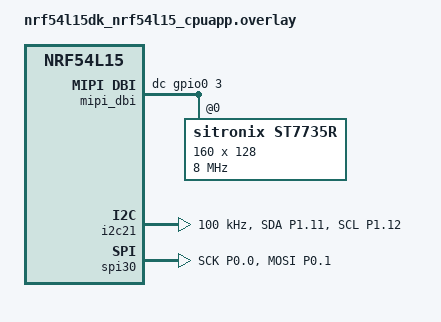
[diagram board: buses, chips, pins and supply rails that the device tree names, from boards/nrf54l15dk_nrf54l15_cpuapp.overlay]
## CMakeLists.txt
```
cmake_minimum_required(VERSION 3.20.0)

list(APPEND ZEPHYR_EXTRA_MODULES ${CMAKE_CURRENT_SOURCE_DIR}/edge_model)

find_package(Zephyr REQUIRED HINTS $ENV{ZEPHYR_BASE})

project(ov7670-fifo-camera)

set(EI_SDK_PATH "C:/ncs/v3.2.4/modules/edge-impulse-sdk-zephyr")

add_subdirectory(
    ${EI_SDK_PATH}/edge-impulse-sdk/cmake/zephyr
    edge-impulse-sdk-zephyr
)

target_sources(app PRIVATE
    src/main.cpp
    src/ov7670.c
    src/fifo.c
    src/tft_display.c
)
```

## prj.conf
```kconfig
# OV7670 FIFO Camera Demo
CONFIG_GPIO=y
CONFIG_I2C=y
CONFIG_SPI=y
CONFIG_DISPLAY=y
CONFIG_ST7735R=y
CONFIG_MIPI_DBI=y

# Serial console (required for any UART output on nRF54L15)
CONFIG_SERIAL=y
CONFIG_CONSOLE=y
CONFIG_UART_CONSOLE=y
CONFIG_PRINTK=y

# Logging
CONFIG_LOG=y
CONFIG_LOG_MODE_IMMEDIATE=y
CONFIG_LOG_BACKEND_UART=y


CONFIG_MAIN_STACK_SIZE=16384
CONFIG_HEAP_MEM_POOL_SIZE=110000
CONFIG_NEWLIB_LIBC=y

CONFIG_CPP=y
CONFIG_STD_CPP17=y
CONFIG_REQUIRES_FULL_LIBCPP=y
CONFIG_NEWLIB_LIBC=y
```

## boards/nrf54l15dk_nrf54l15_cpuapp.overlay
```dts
/*
 * Device tree overlay for OV7670 + FIFO camera on nRF54L15 DK
 *
 * I2C (SCCB): SIOD = P1.11, SIOC = P1.12  (i2c21 / TWIM21 — Arduino I2C header)
 * Data bus D0-D7 = P2.00-P2.07  (read as low byte of port 2)
 * VSYNC = P2.08,  WRST = P2.10,  RCK = P2.09
 * XCLK: provided by 12 MHz oscillator on the camera PCB
 *
 * P1.04-P1.07 — UART20 console          DO NOT USE
 * P2.07 — LED2 (D7: FIFO drives OK, LED flickers with data)
 * P2.09 — LED0 (RCK: LED blinks during frame readout — capture indicator)
 *
 * NOTE: P1.11 and P1.12 are the Arduino-compatible I2C header pins on PCA10156.
 * P1.00/P1.01 are NOT wired to any header on this board.
 */

&pinctrl {
	i2c21_default: i2c21_default {
		group1 {
			psels = <NRF_PSEL(TWIM_SDA, 1, 11)>,
				<NRF_PSEL(TWIM_SCL, 1, 12)>;
			/* External 4.7 kΩ pull-ups present — no internal bias needed */
		};
	};

	i2c21_sleep: i2c21_sleep {
		group1 {
			psels = <NRF_PSEL(TWIM_SDA, 1, 11)>,
				<NRF_PSEL(TWIM_SCL, 1, 12)>;
			low-power-enable;
		};
	};
};

&i2c21 {
	compatible = "nordic,nrf-twim";
	status = "okay";
	pinctrl-0 = <&i2c21_default>;
	pinctrl-1 = <&i2c21_sleep>;
	pinctrl-names = "default", "sleep";
	clock-frequency = <100000>;
};

/*
 * Disable the on-board SPI flash (MX25R64) and SPI00 peripheral.
 * They claim P2.00 (reset), P2.01 (SCK), P2.02 (MOSI), P2.04 (MISO),
 * P2.05 (CS) — which collide with our FIFO data bus D0-D7 on P2.00-P2.07.
 *
 * NOTE: Even with SPI00 disabled, the flash chip is physically soldered
 * to these traces. If bus contention causes problems, the data bus
 * may need to be moved to different pins.
 */
&spi00 {
	status = "disabled";
};

&uart30 {
	status = "disabled";
};

&pinctrl {
	spi30_default: spi30_default {
		group1 {
			psels = <NRF_PSEL(SPIM_SCK, 0, 0)>,
				<NRF_PSEL(SPIM_MOSI, 0, 1)>;
		};
	};

	spi30_sleep: spi30_sleep {
		group1 {
			psels = <NRF_PSEL(SPIM_SCK, 0, 0)>,
				<NRF_PSEL(SPIM_MOSI, 0, 1)>;
			low-power-enable;
		};
	};
};

&spi30 {
	compatible = "nordic,nrf-spim";
	status = "okay";
	pinctrl-0 = <&spi30_default>;
	pinctrl-1 = <&spi30_sleep>;
	pinctrl-names = "default", "sleep";
	cs-gpios = <&gpio0 2 GPIO_ACTIVE_LOW>;
};

/ {
	mipi_dbi: mipi_dbi {
		compatible = "zephyr,mipi-dbi-spi";
		status = "okay";
		spi-dev = <&spi30>;
		dc-gpios = <&gpio0 3 GPIO_ACTIVE_HIGH>;
		write-only;
		#address-cells = <1>;
		#size-cells = <0>;

		st7735r: st7735r@0 {
			compatible = "sitronix,st7735r";
	status = "okay";
	reg = <0>;
	mipi-max-frequency = <8000000>;
	mipi-mode = "MIPI_DBI_MODE_SPI_4WIRE";
	width = <160>;
	height = <128>;
	x-offset = <0>;
	y-offset = <0>;
	madctl = <0x60>;
	colmod = <0x05>;
	vmctr1 = <0x0e>;
	pwctr1 = [A2 02 84];
	pwctr2 = [C5];
	pwctr3 = [0A 00];
	pwctr4 = [8A 2A];
	pwctr5 = [8A EE];
	frmctr1 = [01 2C 2D];
	frmctr2 = [01 2C 2D];
	frmctr3 = [01 2C 2D 01 2C 2D];
	gamctrp1 = [02 1C 07 12 37 32 29 2D 29 25 2B 39 00 01 03 10];
	gamctrn1 = [03 1D 07 06 2E 2C 29 2D 2E 2E 37 3F 00 00 02 10];
		};
	};
};
```

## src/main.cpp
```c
/*
 * OV7670 + FIFO Camera Demo — nRF54L15 DK (Zephyr)
 * Button-triggered Edge Impulse inference.
 */

#include "edge-impulse-sdk/classifier/ei_run_classifier.h"
#include "model-parameters/model_metadata.h"

#include <zephyr/kernel.h>
#include <zephyr/logging/log.h>
#include <zephyr/drivers/gpio.h>

extern "C" {
#include "ov7670.h"
#include "fifo.h"
#include "tft_display.h"
}

LOG_MODULE_REGISTER(app, LOG_LEVEL_INF);

#define BUTTON_PORT_NODE DT_NODELABEL(gpio1)
#define BUTTON_PIN 9   // P1.09 = Button1/SW1

static const struct device *button_gpio = DEVICE_DT_GET(BUTTON_PORT_NODE);
static const struct device *display;

static uint8_t frame_buf[IMG_SIZE] __aligned(4);

static int ei_get_data(size_t offset, size_t length, float *out_ptr)
{
    for (size_t i = 0; i < length; i++) {
        size_t input_index = offset + i;

        int x50 = input_index % 50;
        int y50 = input_index / 50;

        int src_x = (x50 * IMG_W) / 50;
        int src_y = (y50 * IMG_H) / 50;

        int src_index = (src_y * IMG_W + src_x) * 2;

        uint16_t p =
            ((uint16_t)frame_buf[src_index] << 8) |
            frame_buf[src_index + 1];

        uint8_t r = ((p >> 11) & 0x1F) << 3;
        uint8_t g = ((p >> 5) & 0x3F) << 2;
        uint8_t b = (p & 0x1F) << 3;

        float gray = (0.299f * r) + (0.587f * g) + (0.114f * b);

        out_ptr[i] = gray;
    }

    return 0;
}

static void draw_box_on_frame(int x, int y, int w, int h)
{
    // Edge Impulse box is on 50x50 image.
    // Convert box coords to camera 160x120 image.
    int x0 = (x * IMG_W) / EI_CLASSIFIER_INPUT_WIDTH;
    int y0 = (y * IMG_H) / EI_CLASSIFIER_INPUT_HEIGHT;
    int x1 = ((x + w) * IMG_W) / EI_CLASSIFIER_INPUT_WIDTH;
    int y1 = ((y + h) * IMG_H) / EI_CLASSIFIER_INPUT_HEIGHT;

    if (x0 < 0) x0 = 0;
    if (y0 < 0) y0 = 0;
    if (x1 >= IMG_W) x1 = IMG_W - 1;
    if (y1 >= IMG_H) y1 = IMG_H - 1;

    // RGB565 red
    uint16_t color = 0xF800;

    for (int xx = x0; xx <= x1; xx++) {
        int top = (y0 * IMG_W + xx) * 2;
        int bottom = (y1 * IMG_W + xx) * 2;

        frame_buf[top] = color >> 8;
        frame_buf[top + 1] = color & 0xFF;

        frame_buf[bottom] = color >> 8;
        frame_buf[bottom + 1] = color & 0xFF;
    }

    for (int yy = y0; yy <= y1; yy++) {
        int left = (yy * IMG_W + x0) * 2;
        int right = (yy * IMG_W + x1) * 2;

        frame_buf[left] = color >> 8;
        frame_buf[left + 1] = color & 0xFF;

        frame_buf[right] = color >> 8;
        frame_buf[right + 1] = color & 0xFF;
    }
}

static void run_bottle_inference(void)
{
    printk("Button pressed - running inference...\n");

    signal_t signal;
    signal.total_length =
        EI_CLASSIFIER_INPUT_WIDTH *
        EI_CLASSIFIER_INPUT_HEIGHT;

    signal.get_data = &ei_get_data;

    ei_impulse_result_t result = {0};

    EI_IMPULSE_ERROR err =
        run_classifier(&signal, &result, false);

    printk("Inference done err=%d boxes=%d\n",
           err,
           result.bounding_boxes_count);

    if (err != EI_IMPULSE_OK) {
        printk("Inference failed\n");
        return;
    }

    for (size_t i = 0; i < result.bounding_boxes_count; i++) {
        ei_impulse_result_bounding_box_t bb =
            result.bounding_boxes[i];

        int confidence = (int)(bb.value * 100.0f);

printk("BB label=%s value=%d%% x=%d y=%d w=%d h=%d\n",
       bb.label,
       confidence,
       bb.x,
       bb.y,
       bb.width,
       bb.height);

if (bb.value > 0.20f) {
    printk("Bottle detected: %d%%\n", confidence);
    draw_box_on_frame(bb.x, bb.y, bb.width, bb.height);
    tft_draw_image(display, 0, 4, IMG_W, IMG_H, frame_buf);

}
    }
run_classifier_deinit();
k_msleep(100);
run_classifier_init();
}

int main(void)
{
    printk("\n*** OV7670 FIFO Camera + Edge Impulse Demo ***\n");

    display = TFT_DEVICE();

    if (tft_init(display) != 0) {
        printk("Display not ready\n");
        return -ENODEV;
    }

    tft_fill_screen(display, TFT_COLOR_BLACK);

    if (ov7670_init() != 0) {
        printk("OV7670 init failed\n");
        return -EIO;
    }

    if (fifo_init() != 0) {
        printk("FIFO init failed\n");
        return -EIO;
    }

    if (!device_is_ready(button_gpio)) {
        printk("Button GPIO not ready\n");
        return -ENODEV;
    }

    gpio_pin_configure(button_gpio, BUTTON_PIN, GPIO_INPUT | GPIO_PULL_UP);

    run_classifier_init();

    k_msleep(300);

    LOG_INF("Ready — camera %dx%d RGB565 (%u bytes/frame)",
            IMG_W, IMG_H, (unsigned)IMG_SIZE);

    printk("Press Button 1 to run inference.\n");

    bool last_pressed = false;

    for (uint32_t n = 1; ; n++) {
        fifo_capture(frame_buf, IMG_SIZE);

        // Keep live TFT preview. If RAM/crash problems continue, comment this line.
        tft_draw_image(display, 0, 4, IMG_W, IMG_H, frame_buf);

        bool pressed = gpio_pin_get_raw(button_gpio, BUTTON_PIN) == 0;

        if (pressed && !last_pressed) {
            run_bottle_inference();
        }

        last_pressed = pressed;

        if ((n % 30) == 0) {
            LOG_INF("Frame #%u displayed", n);
        }

        k_msleep(100);
    }

    return 0;
}
```

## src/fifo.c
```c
/*
 * AL422B FIFO interface driver.
 *
 * Pin mapping (nRF54L15 DK — P2.00–P2.05 freed via Nordic Board Configurator,
 * spi00 disabled in boards/nrf54l15dk_nrf54l15_cpuapp.overlay):
 *
 *   D0–D7   P2.00–P2.07  (8-bit data bus, read as: gpio2 & 0xFF)
 *   WEN     P0.04        /WE  active-low  (shared with Button3 — OK for demo)
 *   RRST    P1.14        active-low read-pointer reset  (shared with LED3)
 *   VSYNC   P2.08        frame sync input from OV7670
 *   RCK     P2.09        read clock output  (also LED0 — blinks during readout)
 *   WRST    P2.10        /WRST active-low write-pointer reset
 *
 * Fixed (no MCU pin):
 *   XCLK  → 12 MHz oscillator on camera PCB
 *   OE    → GND   (FIFO outputs always enabled)
 *   RST   → 3.3 V via 10 kΩ
 *   PWDN  → GND
 *
 * SCCB (not handled here):
 *   SIOD  → P1.11  (managed by i2c21 / Arduino I2C SDA header)
 *   SIOC  → P1.12  (managed by i2c21 / Arduino I2C SCL header)
 *   Note: keep SIOD/SIOC wires short — long or chained wires add capacitance
 *         that corrupts SCCB writes and produces stuck/tinted images.
 */

#include "fifo.h"

#include <zephyr/device.h>
#include <zephyr/devicetree.h>
#include <zephyr/drivers/gpio.h>
#include <zephyr/kernel.h>
#include <zephyr/logging/log.h>
#include <zephyr/sys/util.h>

LOG_MODULE_REGISTER(fifo, LOG_LEVEL_INF);

/* ---- GPIO port handles --------------------------------------------------- */

static const struct device *const gpio0 = DEVICE_DT_GET(DT_NODELABEL(gpio0));
static const struct device *const gpio1 = DEVICE_DT_GET(DT_NODELABEL(gpio1));
static const struct device *const gpio2 = DEVICE_DT_GET(DT_NODELABEL(gpio2));

/* ---- Pin assignments ----------------------------------------------------- */

#define PIN_WEN    4   /* P0.04 — /WE  active-low */
#define PIN_RRST  14   /* P1.14 — RRST active-low */
#define PIN_VSYNC  8   /* P2.08 — frame sync input */
#define PIN_RCK    9   /* P2.09 — read clock (also LED0) */
#define PIN_WRST  10   /* P2.10 — /WRST active-low */

/* ---- Low-level helpers --------------------------------------------------- */

/* Read the 8-bit data bus: D0–D7 all on P2.00–P2.07. */
static inline uint8_t read_byte(void)
{
	gpio_port_value_t v;

	gpio_port_get_raw(gpio2, &v);
	return (uint8_t)(v & 0xFF);
}

static void write_reset(void)
{
	gpio_pin_set_raw(gpio2, PIN_WRST, 0);
	k_busy_wait(1);
	gpio_pin_set_raw(gpio2, PIN_WRST, 1);
	k_busy_wait(1);
}

static void read_reset(void)
{
	/* Sequence from bitluni reference: assert RRST, clock one rising RCK
	 * edge so the AL422B latches the reset, then deassert RRST.  Leave
	 * RCK high so the first read_byte() sees valid data at address 0. */
	gpio_pin_set_raw(gpio1, PIN_RRST, 0);
	k_busy_wait(1);
	gpio_pin_set_raw(gpio2, PIN_RCK, 0);
	k_busy_wait(1);
	gpio_pin_set_raw(gpio2, PIN_RCK, 1);
	k_busy_wait(1);
	gpio_pin_set_raw(gpio1, PIN_RRST, 1);
}

/* ---- Public API ---------------------------------------------------------- */

int fifo_init(void)
{
	int ret;

	if (!device_is_ready(gpio0) ||
	    !device_is_ready(gpio1) ||
	    !device_is_ready(gpio2)) {
		LOG_ERR("GPIO port(s) not ready");
		return -ENODEV;
	}

	/* Data bus D0–D7: P2.00–P2.07 as inputs */
	for (int i = 0; i < 8; i++) {
		ret = gpio_pin_configure(gpio2, i, GPIO_INPUT);
		if (ret) {
			LOG_ERR("data pin P2.%02d cfg failed: %d", i, ret);
			return ret;
		}
	}

	/* WEN (P0.04): output, start high (write disabled) */
	ret = gpio_pin_configure(gpio0, PIN_WEN, GPIO_OUTPUT);
	if (ret) {
		LOG_ERR("P0.%02d (WEN) cfg failed: %d", PIN_WEN, ret);
		return ret;
	}
	gpio_pin_set_raw(gpio0, PIN_WEN, 1);

	/* RRST (P1.14): output, start high (deasserted) */
	ret = gpio_pin_configure(gpio1, PIN_RRST, GPIO_OUTPUT);
	if (ret) {
		LOG_ERR("P1.%02d (RRST) cfg failed: %d", PIN_RRST, ret);
		return ret;
	}
	gpio_pin_set_raw(gpio1, PIN_RRST, 1);

	/* Port 2 control pins */
	static const struct { uint8_t pin; int dir; uint8_t init; } p2ctrl[] = {
		{PIN_VSYNC, GPIO_INPUT,  0},
		{PIN_WRST,  GPIO_OUTPUT, 1},
		{PIN_RCK,   GPIO_OUTPUT, 1},
	};
	for (int i = 0; i < ARRAY_SIZE(p2ctrl); i++) {
		ret = gpio_pin_configure(gpio2, p2ctrl[i].pin, p2ctrl[i].dir);
		if (ret) {
			LOG_ERR("P2.%02d cfg failed: %d", p2ctrl[i].pin, ret);
			return ret;
		}
		if (p2ctrl[i].dir == GPIO_OUTPUT) {
			gpio_pin_set_raw(gpio2, p2ctrl[i].pin, p2ctrl[i].init);
		}
	}

	return 0;
}

int fifo_capture(uint8_t *buf, size_t size)
{
	/* 1.  Wait for VSYNC = 1  (vertical blanking / end of old frame) */
	while (gpio_pin_get_raw(gpio2, PIN_VSYNC) == 0) {
	}
	/* 2.  Wait for VSYNC = 0  (start of new frame) */
	while (gpio_pin_get_raw(gpio2, PIN_VSYNC) != 0) {
	}

	/* 3.  Reset write pointer and enable writing (AL422B /WE active-low) */
	write_reset();
	gpio_pin_set_raw(gpio0, PIN_WEN, 0);

	/* 4.  Wait for the full frame to be written (VSYNC = 1 again) */
	while (gpio_pin_get_raw(gpio2, PIN_VSYNC) == 0) {
	}

	/* 5.  Stop writing */
	gpio_pin_set_raw(gpio0, PIN_WEN, 1);
	

	/* 6.  Reset read pointer */
read_reset();

/* 6b.  Set RCK low, to avoid the otherwise corrupt first byte. */
gpio_pin_set_raw(gpio2, PIN_RCK, 0);



/* 7.  Clock out every byte.
    *     AL422B: data valid while RCK is HIGH; pointer advances on
    *     falling edge.  RCK is also LED0 — it blinks during readout. */
   const int trouble_byte = (IMG_W * IMG_BPP) - 2;
   for (size_t i = 0; i < size; i++) {
      gpio_pin_set_raw(gpio2, PIN_RCK, 1);
      buf[i] = read_byte();
      if (buf[i] != 0 && (i % (IMG_W * IMG_BPP)) == trouble_byte) {
         //The second last byte in each LINE_STRIDE should always be 0x00.
         //Inserting zero as the second last byte, and inserting the read byte at the end:
         //Do not need to check for array bounds - we are at the second to last byte in a line.
         buf[i + 1] = buf[i];
         buf[i] = 0;
         ++i;
      }
      gpio_pin_set_raw(gpio2, PIN_RCK, 0);
   }
	

	return 0;
}
```

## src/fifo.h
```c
#ifndef FIFO_H_
#define FIFO_H_

#include <stddef.h>
#include <stdint.h>

/* Image dimensions — QQVGA RGB565 */
#define IMG_W    160
#define IMG_H    120
#define IMG_BPP  2
#define IMG_SIZE (IMG_W * IMG_H * IMG_BPP)  /* 38 400 bytes */

/**
 * @brief Configure GPIO pins for the AL422B FIFO interface.
 *
 * Sets up D0–D7 (P2.00–P2.07 as inputs), WEN (P0.04), RRST (P1.14),
 * VSYNC (P2.08), RCK (P2.09), and WRST (P2.10).  Call once at startup
 * before fifo_capture().
 *
 * @return 0 on success, negative errno on failure.
 */
int fifo_init(void);

/**
 * @brief Capture one full frame from the AL422B FIFO into @p buf.
 *
 * Waits for VSYNC frame boundaries, arms the write cycle, then clocks
 * out @p size bytes.
 *
 * @param buf   Destination buffer.  Must be at least @p size bytes.
 * @param size  Bytes to read — normally IMG_SIZE.
 * @return 0 on success.
 */
int fifo_capture(uint8_t *buf, size_t size);

#endif /* FIFO_H_ */
```

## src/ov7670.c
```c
/*
 * OV7670 CMOS image sensor driver (SCCB / I2C).
 *
 * Configures the sensor for QQVGA (160×120) RGB565 output.
 *
 * SCCB is I2C-compatible but requires a STOP condition between the
 * register-address write and the data read — i2c_write_read() must NOT
 * be used; two separate transactions are used instead.
 */

#include "ov7670.h"

#include <zephyr/device.h>
#include <zephyr/devicetree.h>
#include <zephyr/drivers/i2c.h>
#include <zephyr/kernel.h>
#include <zephyr/logging/log.h>
#include <zephyr/sys/util.h>

LOG_MODULE_REGISTER(ov7670, LOG_LEVEL_INF);

/* ---- SCCB address (7-bit) ----------------------------------------------- */

#define OV7670_ADDR  0x21

/* ---- Register map -------------------------------------------------------- */

#define REG_PID               0x0A
#define REG_VER               0x0B
#define REG_COM1              0x04
#define REG_COM3              0x0C
#define REG_COM7              0x12
#define REG_COM9              0x14
#define REG_COM13             0x3D
#define REG_COM14             0x3E
#define REG_COM15             0x40
#define REG_CLKRC             0x11
#define REG_TSLB              0x3A
#define REG_HSTART            0x17
#define REG_HSTOP             0x18
#define REG_HREF              0x32
#define REG_VSTART            0x19
#define REG_VSTOP             0x1A
#define REG_VREF              0x03
#define REG_RGB444            0x8C
#define REG_SCALING_XSC       0x70
#define REG_SCALING_YSC       0x71
#define REG_SCALING_DCWCTR    0x72
#define REG_SCALING_PCLK_DIV  0x73
#define REG_SCALING_PCLK_DLY  0xA2
#define REG_MTX1              0x4F
#define REG_MTX2              0x50
#define REG_MTX3              0x51
#define REG_MTX4              0x52
#define REG_MTX5              0x53
#define REG_MTX6              0x54
#define REG_MTXS              0x58

/* ---- QQVGA RGB565 initialisation table ----------------------------------- */

static const struct { uint8_t reg; uint8_t val; } init_tbl[] = {
	/* software reset — 100 ms pause inserted by the write loop */
	{REG_COM7,             0x80},
	/* RGB output mode */
	{REG_COM7,             0x04},
	/* use external 12 MHz clock directly, no prescaler */
	{REG_CLKRC,            0x80},
	/* enable downsampling / scaling */
	{REG_COM3,             0x04},
	/* manual scaling + PCLK divider ÷4 */
	{REG_COM14,            0x1A},
	/* downsample by 4 (H and V) */
	{REG_SCALING_DCWCTR,   0x22},
	/* DSP clock divider ÷4 */
	{REG_SCALING_PCLK_DIV, 0xF2},
	{REG_SCALING_XSC,      0x3A},
	{REG_SCALING_YSC,      0x35},
	{REG_SCALING_PCLK_DLY, 0x02},
	/* RGB565, full output range */
	{REG_COM15,            0xD0},
	/* disable RGB444 */
	{REG_RGB444,           0x00},
	{REG_COM1,             0x00},
	{REG_TSLB,             0x04},
	/* QQVGA window */
	{REG_HSTART,           0x16},
	{REG_HSTOP,            0x04},
	{REG_HREF,             0x24},
	{REG_VSTART,           0x02},
	{REG_VSTOP,            0x7A},
	{REG_VREF,             0x0A},
	/* AGC gain ceiling */
	{REG_COM9,             0x48},
	/* colour matrix */
	{REG_MTX1,             0x80},
	{REG_MTX2,             0x80},
	{REG_MTX3,             0x00},
	{REG_MTX4,             0x22},
	{REG_MTX5,             0x5E},
	{REG_MTX6,             0x80},
	{REG_MTXS,             0x9E},
	/* gamma + UV auto adjust */
	{REG_COM13,            0xC0},
	/* registers from bitluni reference — critical for correct colours */
	{0xB0,                 0x84},  /* undocumented */
	{0x13,                 0xE7},  /* COM8: AGC + AWB + AEC */
	{0x6F,                 0x9F},  /* simple AWB */
};

/* ---- Critical registers verified after table write ----------------------- */

static const struct {
	uint8_t reg; uint8_t expect; const char *name;
} verify_tbl[] = {
	{REG_COM7,             0x04, "COM7  (RGB mode)"},
	{REG_COM15,            0xD0, "COM15 (RGB565)"},
	{REG_CLKRC,            0x80, "CLKRC (ext clk)"},
	{REG_COM14,            0x1A, "COM14 (scale ÷4)"},
	{REG_SCALING_DCWCTR,   0x22, "DCWCTR (ds ÷4)"},
	{REG_SCALING_PCLK_DIV, 0xF2, "PCLK_DIV (÷4)"},
};

/* ---- Device handle ------------------------------------------------------- */

static const struct device *const i2c_dev = DEVICE_DT_GET(DT_NODELABEL(i2c21));

/* ---- Low-level SCCB helpers ---------------------------------------------- */

static int write_reg(uint8_t reg, uint8_t val)
{
	uint8_t buf[2] = {reg, val};

	return i2c_write(i2c_dev, buf, 2, OV7670_ADDR);
}

static int read_reg(uint8_t reg, uint8_t *val)
{
	/*
	 * OV7670 SCCB requires a STOP between the address phase and the data
	 * read — use two separate transactions, not i2c_write_read().
	 */
	int ret = i2c_write(i2c_dev, &reg, 1, OV7670_ADDR);

	if (ret) {
		return ret;
	}
	return i2c_read(i2c_dev, val, 1, OV7670_ADDR);
}

/* ---- Public API ---------------------------------------------------------- */

int ov7670_init(void)
{
	uint8_t pid, ver;
	int ret;

	if (!device_is_ready(i2c_dev)) {
		LOG_ERR("I2C device (i2c21) not ready");
		return -ENODEV;
	}

	/* I2C bus scan — helps diagnose address / wiring issues */
	printk("I2C scan on i2c21 (P1.11=SDA, P1.12=SCL):\n");
	bool found = false;
	uint8_t dummy;

	for (uint8_t addr = 0x08; addr < 0x78; addr++) {
		if (i2c_write(i2c_dev, &dummy, 0, addr) == 0) {
			printk("  found device at 0x%02X\n", addr);
			found = true;
		}
	}
	if (!found) {
		printk("  no devices found — check wiring and pull-ups on P1.11/P1.12!\n");
	}

	ret = read_reg(REG_PID, &pid);
	if (ret) {
		LOG_ERR("Cannot read OV7670 PID (I2C error %d) — check SIOD/SIOC wiring", ret);
		return ret;
	}
	read_reg(REG_VER, &ver);
	LOG_INF("OV7670 found — PID 0x%02X  VER 0x%02X", pid, ver);

	if (pid != 0x76 || ver != 0x73) {
		LOG_WRN("Unexpected chip ID (expected PID=0x76, VER=0x73)");
	}

	/* Write register table */
	for (size_t i = 0; i < ARRAY_SIZE(init_tbl); i++) {
		ret = write_reg(init_tbl[i].reg, init_tbl[i].val);
		if (ret) {
			LOG_ERR("Reg 0x%02X write failed: %d", init_tbl[i].reg, ret);
			return ret;
		}
		/* extra pause after software reset */
		if (init_tbl[i].reg == REG_COM7 && init_tbl[i].val == 0x80) {
			k_msleep(100);
		} else {
			k_usleep(300);
		}
	}
	LOG_INF("OV7670 configured — QQVGA 160x120 RGB565");

	/* Readback verification */
	for (size_t i = 0; i < ARRAY_SIZE(verify_tbl); i++) {
		uint8_t rd = 0xFF;
		int rc = read_reg(verify_tbl[i].reg, &rd);

		if (rc) {
			LOG_ERR("Readback 0x%02X (%s) I2C err %d",
				verify_tbl[i].reg, verify_tbl[i].name, rc);
		} else if (rd != verify_tbl[i].expect) {
			LOG_WRN("Readback 0x%02X (%s): got 0x%02X, expected 0x%02X",
				verify_tbl[i].reg, verify_tbl[i].name, rd, verify_tbl[i].expect);
		} else {
			LOG_INF("Readback 0x%02X (%s): OK (0x%02X)",
				verify_tbl[i].reg, verify_tbl[i].name, rd);
		}
	}

	return 0;
}
```

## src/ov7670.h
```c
#ifndef OV7670_H_
#define OV7670_H_

/**
 * @brief Initialise the OV7670 image sensor over SCCB (I2C).
 *
 * Performs an I2C bus scan, verifies the OV7670 chip ID, writes the QQVGA
 * RGB565 register table, and reads back six critical registers to confirm
 * the configuration was accepted.
 *
 * Requires i2c21 to be ready before calling.
 *
 * @return 0 on success, negative errno on failure.
 */
int ov7670_init(void);

#endif /* OV7670_H_ */
```

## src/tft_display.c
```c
#include "tft_display.h"

#include <string.h>
#include <zephyr/drivers/display.h>
#include <errno.h>

/* ── 5×7 bitmap font, ASCII 32–126 ─────────────────────────────────────── */
/* Column-major encoding: each byte = one column, bit 0 = top row.         */
#define FONT_FIRST 32

static const uint8_t font5x7[][TFT_FONT_W] = {
	{0x00,0x00,0x00,0x00,0x00}, /* ' ' 32 */
	{0x00,0x00,0x5F,0x00,0x00}, /* '!' 33 */
	{0x00,0x07,0x00,0x07,0x00}, /* '"' 34 */
	{0x14,0x7F,0x14,0x7F,0x14}, /* '#' 35 */
	{0x24,0x2A,0x7F,0x2A,0x12}, /* '$' 36 */
	{0x23,0x13,0x08,0x64,0x62}, /* '%' 37 */
	{0x36,0x49,0x55,0x22,0x50}, /* '&' 38 */
	{0x00,0x05,0x03,0x00,0x00}, /* '\'' 39 */
	{0x00,0x1C,0x22,0x41,0x00}, /* '(' 40 */
	{0x00,0x41,0x22,0x1C,0x00}, /* ')' 41 */
	{0x14,0x08,0x3E,0x08,0x14}, /* '*' 42 */
	{0x08,0x08,0x3E,0x08,0x08}, /* '+' 43 */
	{0x00,0x50,0x30,0x00,0x00}, /* ',' 44 */
	{0x08,0x08,0x08,0x08,0x08}, /* '-' 45 */
	{0x00,0x60,0x60,0x00,0x00}, /* '.' 46 */
	{0x20,0x10,0x08,0x04,0x02}, /* '/' 47 */
	{0x3E,0x51,0x49,0x45,0x3E}, /* '0' 48 */
	{0x00,0x42,0x7F,0x40,0x00}, /* '1' 49 */
	{0x42,0x61,0x51,0x49,0x46}, /* '2' 50 */
	{0x21,0x41,0x45,0x4B,0x31}, /* '3' 51 */
	{0x18,0x14,0x12,0x7F,0x10}, /* '4' 52 */
	{0x27,0x45,0x45,0x45,0x39}, /* '5' 53 */
	{0x3C,0x4A,0x49,0x49,0x30}, /* '6' 54 */
	{0x01,0x71,0x09,0x05,0x03}, /* '7' 55 */
	{0x36,0x49,0x49,0x49,0x36}, /* '8' 56 */
	{0x06,0x49,0x49,0x29,0x1E}, /* '9' 57 */
	{0x00,0x36,0x36,0x00,0x00}, /* ':' 58 */
	{0x00,0x56,0x36,0x00,0x00}, /* ';' 59 */
	{0x08,0x14,0x22,0x41,0x00}, /* '<' 60 */
	{0x14,0x14,0x14,0x14,0x14}, /* '=' 61 */
	{0x00,0x41,0x22,0x14,0x08}, /* '>' 62 */
	{0x02,0x01,0x51,0x09,0x06}, /* '?' 63 */
	{0x32,0x49,0x79,0x41,0x3E}, /* '@' 64 */
	{0x7E,0x11,0x11,0x11,0x7E}, /* 'A' 65 */
	{0x7F,0x49,0x49,0x49,0x36}, /* 'B' 66 */
	{0x3E,0x41,0x41,0x41,0x22}, /* 'C' 67 */
	{0x7F,0x41,0x41,0x22,0x1C}, /* 'D' 68 */
	{0x7F,0x49,0x49,0x49,0x41}, /* 'E' 69 */
	{0x7F,0x09,0x09,0x09,0x01}, /* 'F' 70 */
	{0x3E,0x41,0x49,0x49,0x7A}, /* 'G' 71 */
	{0x7F,0x08,0x08,0x08,0x7F}, /* 'H' 72 */
	{0x00,0x41,0x7F,0x41,0x00}, /* 'I' 73 */
	{0x20,0x40,0x41,0x3F,0x01}, /* 'J' 74 */
	{0x7F,0x08,0x14,0x22,0x41}, /* 'K' 75 */
	{0x7F,0x40,0x40,0x40,0x40}, /* 'L' 76 */
	{0x7F,0x02,0x0C,0x02,0x7F}, /* 'M' 77 */
	{0x7F,0x04,0x08,0x10,0x7F}, /* 'N' 78 */
	{0x3E,0x41,0x41,0x41,0x3E}, /* 'O' 79 */
	{0x7F,0x09,0x09,0x09,0x06}, /* 'P' 80 */
	{0x3E,0x41,0x51,0x21,0x5E}, /* 'Q' 81 */
	{0x7F,0x09,0x19,0x29,0x46}, /* 'R' 82 */
	{0x46,0x49,0x49,0x49,0x31}, /* 'S' 83 */
	{0x01,0x01,0x7F,0x01,0x01}, /* 'T' 84 */
	{0x3F,0x40,0x40,0x40,0x3F}, /* 'U' 85 */
	{0x1F,0x20,0x40,0x20,0x1F}, /* 'V' 86 */
	{0x3F,0x40,0x38,0x40,0x3F}, /* 'W' 87 */
	{0x63,0x14,0x08,0x14,0x63}, /* 'X' 88 */
	{0x07,0x08,0x70,0x08,0x07}, /* 'Y' 89 */
	{0x61,0x51,0x49,0x45,0x43}, /* 'Z' 90 */
	{0x00,0x7F,0x41,0x41,0x00}, /* '[' 91 */
	{0x02,0x04,0x08,0x10,0x20}, /* '\\' 92 */
	{0x00,0x41,0x41,0x7F,0x00}, /* ']' 93 */
	{0x04,0x02,0x01,0x02,0x04}, /* '^' 94 */
	{0x40,0x40,0x40,0x40,0x40}, /* '_' 95 */
	{0x00,0x01,0x02,0x04,0x00}, /* '`' 96 */
	{0x20,0x54,0x54,0x54,0x78}, /* 'a' 97 */
	{0x7F,0x48,0x44,0x44,0x38}, /* 'b' 98 */
	{0x38,0x44,0x44,0x44,0x20}, /* 'c' 99 */
	{0x38,0x44,0x44,0x48,0x7F}, /* 'd' 100 */
	{0x38,0x54,0x54,0x54,0x18}, /* 'e' 101 */
	{0x08,0x7E,0x09,0x01,0x02}, /* 'f' 102 */
	{0x0C,0x52,0x52,0x52,0x3E}, /* 'g' 103 */
	{0x7F,0x08,0x04,0x04,0x78}, /* 'h' 104 */
	{0x00,0x44,0x7D,0x40,0x00}, /* 'i' 105 */
	{0x20,0x40,0x44,0x3D,0x00}, /* 'j' 106 */
	{0x7F,0x10,0x28,0x44,0x00}, /* 'k' 107 */
	{0x00,0x41,0x7F,0x40,0x00}, /* 'l' 108 */
	{0x7C,0x04,0x18,0x04,0x78}, /* 'm' 109 */
	{0x7C,0x08,0x04,0x04,0x78}, /* 'n' 110 */
	{0x38,0x44,0x44,0x44,0x38}, /* 'o' 111 */
	{0x7C,0x14,0x14,0x14,0x08}, /* 'p' 112 */
	{0x08,0x14,0x14,0x18,0x7C}, /* 'q' 113 */
	{0x7C,0x08,0x04,0x04,0x08}, /* 'r' 114 */
	{0x48,0x54,0x54,0x54,0x20}, /* 's' 115 */
	{0x04,0x3F,0x44,0x40,0x20}, /* 't' 116 */
	{0x3C,0x40,0x40,0x20,0x7C}, /* 'u' 117 */
	{0x1C,0x20,0x40,0x20,0x1C}, /* 'v' 118 */
	{0x3C,0x40,0x30,0x40,0x3C}, /* 'w' 119 */
	{0x44,0x28,0x10,0x28,0x44}, /* 'x' 120 */
	{0x0C,0x50,0x50,0x50,0x3C}, /* 'y' 121 */
	{0x44,0x64,0x54,0x4C,0x44}, /* 'z' 122 */
	{0x00,0x08,0x36,0x41,0x00}, /* '{' 123 */
	{0x00,0x00,0x7F,0x00,0x00}, /* '|' 124 */
	{0x00,0x41,0x36,0x08,0x00}, /* '}' 125 */
	{0x10,0x08,0x08,0x10,0x08}, /* '~' 126 */
};

/* ── Shared draw buffer (one full row: 160px × 2 bytes = 320 bytes) ─────── */
static uint8_t draw_buf[TFT_WIDTH * TFT_BPP];

/* ── Lifecycle ──────────────────────────────────────────────────────────── */

int tft_init(const struct device *dev)
{
	if (!device_is_ready(dev)) {
		return -ENODEV;
	}
	return display_blanking_off(dev);
}

/* ── Fill primitives ────────────────────────────────────────────────────── */

void tft_fill_rect(const struct device *dev, int x, int y, int w, int h,
		   uint16_t color)
{
	if (w <= 0 || h <= 0) {
		return;
	}
	for (int i = 0; i < w; i++) {
		draw_buf[i * 2]     = (color >> 8) & 0xFF;
		draw_buf[i * 2 + 1] = color & 0xFF;
	}
	struct display_buffer_descriptor d = {
		.buf_size = (uint32_t)(w * TFT_BPP),
		.width    = (uint16_t)w,
		.height   = 1,
		.pitch    = (uint16_t)w,
	};
	for (int row = y; row < y + h; row++) {
		display_write(dev, x, row, &d, draw_buf);
	}
}

void tft_fill_screen(const struct device *dev, uint16_t color)
{
	tft_fill_rect(dev, 0, 0, TFT_WIDTH, TFT_HEIGHT, color);
}

/* ── Line primitives ────────────────────────────────────────────────────── */

void tft_draw_hline(const struct device *dev, int x, int y, int w,
		    uint16_t color)
{
	if (y < 0 || y >= TFT_HEIGHT || w <= 0) {
		return;
	}
	if (x < 0) { w += x; x = 0; }
	if (x + w > TFT_WIDTH) { w = TFT_WIDTH - x; }
	if (w <= 0) {
		return;
	}
	tft_fill_rect(dev, x, y, w, 1, color);
}

void tft_draw_vline(const struct device *dev, int x, int y, int h,
		    uint16_t color)
{
	if (x < 0 || x >= TFT_WIDTH || h <= 0) {
		return;
	}
	if (y < 0) { h += y; y = 0; }
	if (y + h > TFT_HEIGHT) { h = TFT_HEIGHT - y; }
	if (h <= 0) {
		return;
	}
	for (int i = 0; i < h; i++) {
		draw_buf[i * 2]     = (color >> 8) & 0xFF;
		draw_buf[i * 2 + 1] = color & 0xFF;
	}
	struct display_buffer_descriptor d = {
		.buf_size = (uint32_t)(h * TFT_BPP),
		.width    = 1,
		.height   = (uint16_t)h,
		.pitch    = 1,
	};
	display_write(dev, x, y, &d, draw_buf);
}

/* ── Text ───────────────────────────────────────────────────────────────── */

void tft_draw_char(const struct device *dev, int x, int y, char c,
		   uint16_t fg, uint16_t bg)
{
	if (c < FONT_FIRST || c > 126) {
		c = '?';
	}
	const uint8_t *glyph = font5x7[(uint8_t)c - FONT_FIRST];
	uint8_t row_buf[TFT_FONT_W * TFT_BPP];
	struct display_buffer_descriptor d = {
		.buf_size = TFT_FONT_W * TFT_BPP,
		.width    = TFT_FONT_W,
		.height   = 1,
		.pitch    = TFT_FONT_W,
	};

	for (int row = 0; row < TFT_FONT_H; row++) {
		for (int col = 0; col < TFT_FONT_W; col++) {
			uint16_t px = ((glyph[col] >> row) & 1) ? fg : bg;
			row_buf[col * 2]     = (px >> 8) & 0xFF;
			row_buf[col * 2 + 1] = px & 0xFF;
		}
		display_write(dev, x, y + row, &d, row_buf);
	}
}

void tft_draw_string(const struct device *dev, int x, int y, const char *str,
		     uint16_t fg, uint16_t bg)
{
	for (; *str; str++, x += TFT_FONT_STRIDE) {
		if (x + TFT_FONT_W > TFT_WIDTH) {
			break;
		}
		tft_draw_char(dev, x, y, *str, fg, bg);
	}
}

/* ── Image ──────────────────────────────────────────────────────────────── */

void tft_draw_image(const struct device *dev, int x, int y, int w, int h,
		    const uint8_t *rgb565)
{
	struct display_buffer_descriptor d = {
		.buf_size = (uint32_t)(w * TFT_BPP),
		.width    = (uint16_t)w,
		.height   = 1,
		.pitch    = (uint16_t)w,
	};
	for (int row = 0; row < h; row++) {
		display_write(dev, x, y + row, &d,
			      rgb565 + row * w * TFT_BPP);
	}
}

/* ── Computer-vision overlays ───────────────────────────────────────────── */

void tft_draw_bounding_box(const struct device *dev, int x, int y, int w,
			   int h, const char *label)
{
	/* 2-pixel-thick border */
	for (int t = 0; t < 2; t++) {
		tft_draw_hline(dev, x + t,         y + t,         w - 2 * t,
			       TFT_COLOR_YELLOW);
		tft_draw_hline(dev, x + t,         y + h - 1 - t, w - 2 * t,
			       TFT_COLOR_YELLOW);
		tft_draw_vline(dev, x + t,         y + t,         h - 2 * t,
			       TFT_COLOR_YELLOW);
		tft_draw_vline(dev, x + w - 1 - t, y + t,         h - 2 * t,
			       TFT_COLOR_YELLOW);
	}

	if (!label || !*label) {
		return;
	}

	/* Filled yellow tag with black text, inset inside the top-left corner */
	int label_len = (int)strlen(label);
	int tag_w     = label_len * TFT_FONT_STRIDE + 4; /* 2px padding each side */
	int tag_h     = TFT_FONT_H + 4;

	if (tag_w > w) {
		tag_w = w;
	}

	tft_fill_rect(dev, x + 2, y + 2, tag_w, tag_h, TFT_COLOR_YELLOW);
	tft_draw_string(dev, x + 4, y + 4, label, TFT_COLOR_BLACK,
			TFT_COLOR_YELLOW);
}
```

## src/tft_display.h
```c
#ifndef TFT_DISPLAY_H_
#define TFT_DISPLAY_H_

#include <stdint.h>
#include <zephyr/device.h>

/* ── Display geometry ───────────────────────────────────────────────────── */
#define TFT_WIDTH   160
#define TFT_HEIGHT  128
#define TFT_BPP     2   /* RGB565 = 2 bytes per pixel */

/* ── Common RGB565 colors (big-endian byte order) ───────────────────────── */
#define TFT_COLOR_BLACK   ((uint16_t)0x0000U)
#define TFT_COLOR_WHITE   ((uint16_t)0xFFFFU)
#define TFT_COLOR_RED     ((uint16_t)0xF800U)
#define TFT_COLOR_GREEN   ((uint16_t)0x07E0U)
#define TFT_COLOR_BLUE    ((uint16_t)0x001FU)
#define TFT_COLOR_YELLOW  ((uint16_t)0xFFE0U)
#define TFT_COLOR_CYAN    ((uint16_t)0x07FFU)
#define TFT_COLOR_MAGENTA ((uint16_t)0xF81FU)

/* ── Font metrics (built-in 5×7 bitmap font, ASCII 32–126) ─────────────── */
#define TFT_FONT_W      5
#define TFT_FONT_H      7
#define TFT_FONT_STRIDE 6  /* pixel advance per character (5px glyph + 1px gap) */

/**
 * TFT_DEVICE - Obtain the display device from the devicetree.
 *
 * Requires the st7735r node to be labelled "st7735r" in the board overlay.
 * Use result with tft_init() before any draw call.
 */
#define TFT_DEVICE() DEVICE_DT_GET(DT_NODELABEL(st7735r))

/* ── Lifecycle ──────────────────────────────────────────────────────────── */

/**
 * tft_init - Verify the display is ready and turn blanking off.
 *
 * Returns 0 on success, -ENODEV if the device is not ready.
 */
int tft_init(const struct device *dev);

/* ── Fill primitives ────────────────────────────────────────────────────── */

void tft_fill_screen(const struct device *dev, uint16_t color);
void tft_fill_rect(const struct device *dev, int x, int y, int w, int h,
		   uint16_t color);

/* ── Line primitives ────────────────────────────────────────────────────── */

void tft_draw_hline(const struct device *dev, int x, int y, int w,
		    uint16_t color);
void tft_draw_vline(const struct device *dev, int x, int y, int h,
		    uint16_t color);

/* ── Text ───────────────────────────────────────────────────────────────── */

void tft_draw_char(const struct device *dev, int x, int y, char c,
		   uint16_t fg, uint16_t bg);
void tft_draw_string(const struct device *dev, int x, int y, const char *str,
		     uint16_t fg, uint16_t bg);

/* ── Image ──────────────────────────────────────────────────────────────── */

/**
 * tft_draw_image - Blit a raw RGB565 frame buffer onto the display.
 *
 * @dev:    Display device
 * @x:      Top-left column
 * @y:      Top-left row
 * @w:      Image width in pixels
 * @h:      Image height in pixels
 * @rgb565: Row-major RGB565 buffer, big-endian, w*h*2 bytes
 *
 * Suitable for displaying camera frames directly:
 *   tft_draw_image(dev, 0, 0, 160, 128, frame_buf);
 */
void tft_draw_image(const struct device *dev, int x, int y, int w, int h,
		    const uint8_t *rgb565);

/* ── Computer-vision overlays ───────────────────────────────────────────── */

/**
 * tft_draw_bounding_box - Draw a CV-style bounding box with a label tag.
 *
 * @dev:   Display device
 * @x:     Top-left column
 * @y:     Top-left row
 * @w:     Box width in pixels
 * @h:     Box height in pixels
 * @label: Null-terminated ASCII label (may be NULL for unlabelled box)
 *
 * Draws a 2-pixel-thick yellow rectangle. A filled yellow tag with black
 * text is placed inside the top-left corner of the box.
 */
void tft_draw_bounding_box(const struct device *dev, int x, int y, int w,
			   int h, const char *label);

#endif /* TFT_DISPLAY_H_ */
```
